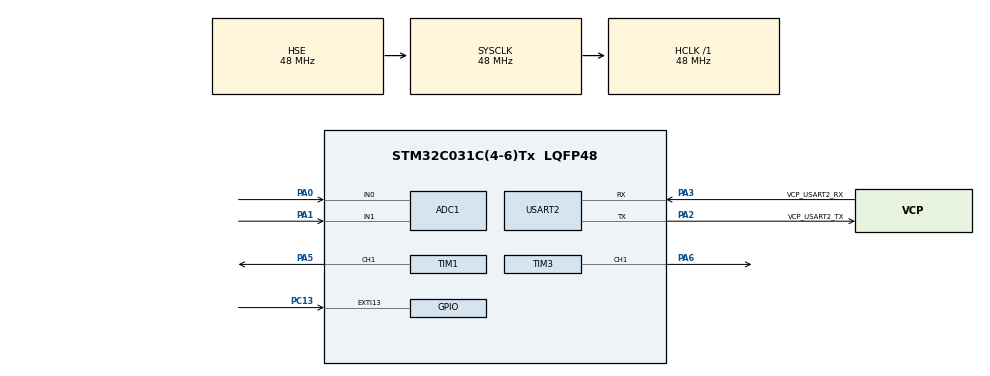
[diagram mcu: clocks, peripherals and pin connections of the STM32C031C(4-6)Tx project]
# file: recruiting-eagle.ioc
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ADC1.ContinuousConvMode=ENABLE
ADC1.DMAContinuousRequests=ENABLE
ADC1.NbrOfConversionFlag=0
ADC1.SelectedChannel=ADC_CHANNEL_0|ADC_CHANNEL_1
ADC1.master=1
Dma.ADC1.0.Direction=DMA_PERIPH_TO_MEMORY
Dma.ADC1.0.EventEnable=DISABLE
Dma.ADC1.0.Instance=DMA1_Channel1
Dma.ADC1.0.MemDataAlignment=DMA_MDATAALIGN_HALFWORD
Dma.ADC1.0.MemInc=DMA_MINC_ENABLE
Dma.ADC1.0.Mode=DMA_CIRCULAR
Dma.ADC1.0.PeriphDataAlignment=DMA_PDATAALIGN_HALFWORD
Dma.ADC1.0.PeriphInc=DMA_PINC_DISABLE
Dma.ADC1.0.Polarity=HAL_DMAMUX_REQ_GEN_RISING
Dma.ADC1.0.Priority=DMA_PRIORITY_LOW
Dma.ADC1.0.RequestNumber=1
Dma.ADC1.0.SignalID=NONE
Dma.ADC1.0.SyncEnable=DISABLE
Dma.ADC1.0.SyncPolarity=HAL_DMAMUX_SYNC_NO_EVENT
Dma.ADC1.0.SyncRequestNumber=1
Dma.ADC1.0.SyncSignalID=NONE
Dma.Request0=ADC1
Mcu.Family=STM32C0
Mcu.Name=STM32C031C(4-6)Tx
Mcu.Package=LQFP48
NVIC.DMA1_Channel1_IRQn=true\:0\:0\:false\:false\:true\:false\:true\:true
NVIC.EXTI4_15_IRQn=true\:0\:0\:false\:false\:true\:true\:true\:true
NVIC.USART2_IRQn=true\:0\:0\:false\:false\:true\:true\:true\:true
PA0.Mode=IN0
PA0.Signal=ADC1_IN0
PA1.Mode=IN1
PA1.Signal=ADC1_IN1
PA13.GPIO_Label=DEBUG_SWDIO
PA13.Signal=DEBUG_SWDIO
PA14-BOOT0.GPIO_Label=DEBUG_SWCLK
PA14-BOOT0.Signal=DEBUG_SWCLK
PA2.GPIO_Label=VCP_USART2_TX
PA2.Mode=Asynchronous
PA2.Signal=USART2_TX
PA3.GPIO_Label=VCP_USART2_RX
PA3.Mode=Asynchronous
PA3.Signal=USART2_RX
PA5.Signal=S_TIM1_CH1
PA6.Signal=S_TIM3_CH1
PC13.GPIO_ModeDefaultEXTI=GPIO_MODE_IT_FALLING
PC13.Signal=GPXTI13
PC14-OSCX_IN\ (PC14).GPIO_Label=RCC_OSCX_IN
PC14-OSCX_IN\ (PC14).Mode=LSE-External-Oscillator
PC14-OSCX_IN\ (PC14).Signal=RCC_OSCX_IN
PC15-OSCX_OUT\ (PC15).GPIO_Label=RCC_OSCX_OUT
PC15-OSCX_OUT\ (PC15).Mode=LSE-External-Oscillator
PC15-OSCX_OUT\ (PC15).Signal=RCC_OSCX_OUT
PF0-OSC_IN\ (PF0).GPIO_Label=RCC_OSC_IN
PF0-OSC_IN\ (PF0).Mode=HSE-External-Oscillator
PF0-OSC_IN\ (PF0).Signal=RCC_OSC_IN
PF1-OSC_OUT\ (PF1).GPIO_Label=RCC_OSC_OUT
PF1-OSC_OUT\ (PF1).Mode=HSE-External-Oscillator
PF1-OSC_OUT\ (PF1).Signal=RCC_OSC_OUT
ProjectManager.HeapSize=0x200
ProjectManager.StackSize=0x400
ProjectManager.TargetToolchain=Makefile
RCC.ADCFreq_Value=48000000
RCC.AHBFreq_Value=48000000
RCC.CortexFreq_Value=48000000
RCC.EXTERNAL_CLOCK_VALUE=12288000
RCC.HCLKFreq_Value=48000000
RCC.HSE_VALUE=48000000
RCC.HSISYSCLKDivider=RCC_HSI_DIV1
RCC.HSI_VALUE=48000000
RCC.SYSCLKFreq_VALUE=48000000
RCC.SYSCLKSource=RCC_SYSCLKSOURCE_HSE
SH.S_TIM1_CH1.0=TIM1_CH1,PWM Generation1 CH1
SH.S_TIM3_CH1.0=TIM3_CH1,PWM Generation1 CH1
TIM1.Channel-PWM\ Generation1\ CH1=TIM_CHANNEL_1
TIM1.Prescaler=48000 - 1
TIM3.Channel-PWM\ Generation1\ CH1=TIM_CHANNEL_1
TIM3.Period=1000 - 1
TIM3.Prescaler=48 - 1
USART2.VirtualMode-Asynchronous=VM_ASYNC
board=NUCLEO-C031C6

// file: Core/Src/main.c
/* USER CODE BEGIN Header */
/**
 ******************************************************************************
 * @file           : main.c
 * @brief          : Main program body
 ******************************************************************************
 * @attention
 *
 * Copyright (c) 2026 STMicroelectronics.
 * All rights reserved.
 *
 * This software is licensed under terms that can be found in the LICENSE file
 * in the root directory of this software component.
 * If no LICENSE file comes with this software, it is provided AS-IS.
 *
 ******************************************************************************
 */
/* USER CODE END Header */
#include "main.h"
#include "adc.h"
#include "dma.h"
#include "tim.h"
#include "usart.h"
#include "gpio.h"

/* USER CODE BEGIN Includes */
#include "Core/Inc/recruiting/shared-data/shared-data.h"
#include "Core/Inc/recruiting/app-tasks/app-tasks.h"
#include "Core/Inc/recruiting/bsp/bsp-interface.h"
/* USER CODE END Includes */

/* USER CODE BEGIN PV */
char cli_buffer[64];
volatile uint8_t cli_idx = 0;
/* USER CODE END PV */

void SystemClock_Config(void);
/* USER CODE BEGIN PFP */
void HAL_GPIO_EXTI_Falling_Callback(uint16_t GPIO_Pin);
void HAL_UART_RxCpltCallback(UART_HandleTypeDef *huart);
extern int uint_to_string(uint16_t num, char *str); // Ora gestito nel file corretto o qui come extern
/* USER CODE END PFP */

int main(void)
{

	/* MCU Configuration--------------------------------------------------------*/

	/* Reset of all peripherals, Initializes the Flash interface and the Systick. */
	HAL_Init();

	/* Configure the system clock */
	SystemClock_Config();

	/* Initialize all configured peripherals */
	MX_GPIO_Init();
	MX_DMA_Init();
	MX_ADC1_Init();
	MX_TIM1_Init();
	MX_USART2_UART_Init();
	MX_TIM3_Init();

	/* USER CODE BEGIN 2 */

	bsp_uart_listen_start(); // start listening for UART messages

	HAL_Delay(3000);

	HAL_TIM_PWM_Start(&htim1, TIM_CHANNEL_1);
	HAL_TIM_PWM_Start(&htim3, TIM_CHANNEL_1);

	// initialize scheduler
	app_tasks_init();

	/* USER CODE END 2 */

	/* Infinite loop */
	/* USER CODE BEGIN WHILE */
	while (1)
	{
		app_tasks_run();

		/* USER CODE END WHILE */

	}
}

void SystemClock_Config(void)
{
	RCC_OscInitTypeDef RCC_OscInitStruct = {0};
	RCC_ClkInitTypeDef RCC_ClkInitStruct = {0};

	__HAL_FLASH_SET_LATENCY(FLASH_LATENCY_1);

	/** Initializes the RCC Oscillators according to the specified parameters
	 * in the RCC_OscInitTypeDef structure.
	 */
	RCC_OscInitStruct.OscillatorType = RCC_OSCILLATORTYPE_HSE;
	RCC_OscInitStruct.HSEState = RCC_HSE_ON;
	if (HAL_RCC_OscConfig(&RCC_OscInitStruct) != HAL_OK)
	{
		Error_Handler();
	}

	/** Initializes the CPU, AHB and APB buses clocks
	 */
	RCC_ClkInitStruct.ClockType = RCC_CLOCKTYPE_HCLK | RCC_CLOCKTYPE_SYSCLK | RCC_CLOCKTYPE_PCLK1;
	RCC_ClkInitStruct.SYSCLKSource = RCC_SYSCLKSOURCE_HSE;
	RCC_ClkInitStruct.SYSCLKDivider = RCC_SYSCLK_DIV1;
	RCC_ClkInitStruct.AHBCLKDivider = RCC_HCLK_DIV1;
	RCC_ClkInitStruct.APB1CLKDivider = RCC_APB1_DIV1;

	if (HAL_RCC_ClockConfig(&RCC_ClkInitStruct, FLASH_LATENCY_1) != HAL_OK)
	{
		Error_Handler();
	}
}

/* USER CODE BEGIN 4 */
void HAL_GPIO_EXTI_Falling_Callback(uint16_t GPIO_Pin)
{
	if (GPIO_Pin == GPIO_PIN_13)
	{
		g_shared_data.button_pressed = 1;
	}
}
/* USER CODE END 4 */

void Error_Handler(void)
{
	__disable_irq();
	while (1)
	{
	}
}
